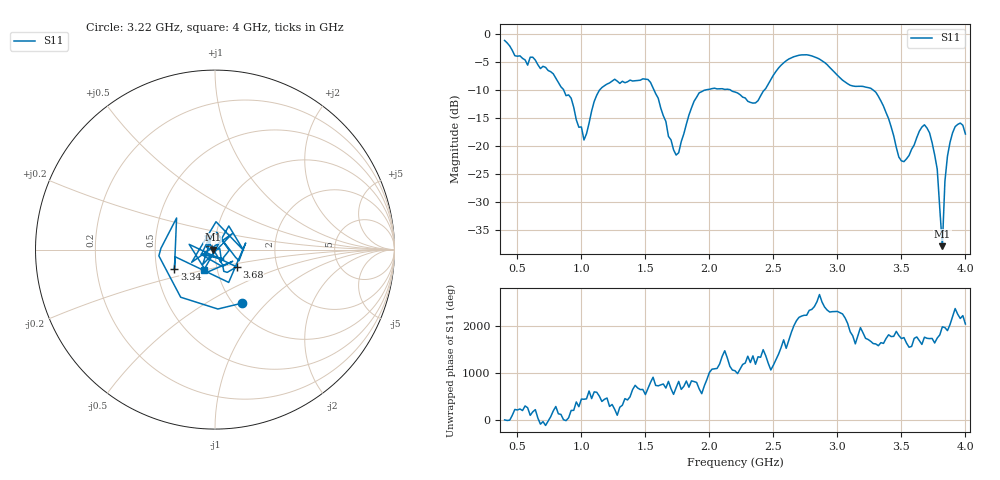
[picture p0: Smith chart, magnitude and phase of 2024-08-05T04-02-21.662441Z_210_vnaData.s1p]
!Created with skrf (http://scikit-rf.org).
# Hz S RI R 50.0
!freq ReS11 ImS11
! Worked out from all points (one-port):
!   181 points, 400 MHz to 4 GHz, reference 50 ohm
!   lowest |S11| = -38.0 dB at 3.82 GHz (marker M1), VSWR 1.03, Z = 48.8 - j0.0294 ohm
!   |S11| at or under -10 dB: 861.1 MHz to 1.143 GHz (282 MHz wide, 28.1 % of centre); 1.567 GHz to 1.974 GHz (406.7 MHz wide, 23 % of centre); 3.277 GHz to end of sweep (the widest 3 of 4)
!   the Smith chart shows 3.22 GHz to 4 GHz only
!   S11 on the Smith chart (normalised r, x): 3.22 GHz: 1.10, -0.74; 3.34 GHz: 0.62, -0.15; 3.68 GHz: 1.25, -0.25; 4 GHz: 0.86, -0.20
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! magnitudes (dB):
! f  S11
! 400 MHz  -1.2
! 860 MHz  -9.9
! 920 MHz  -11.5
! 1.02 GHz  -19.0
! 1.14 GHz  -10.1
! 1.3 GHz  -8.8
! 1.54 GHz  -8.7
! 1.72 GHz  -20.7
! 1.76 GHz  -21.2
! 1.84 GHz  -14.5
! 1.92 GHz  -10.5
! 2.2 GHz  -10.4
! 2.36 GHz  -12.3
! 2.66 GHz  -4.1
! 2.86 GHz  -4.5
! 3.1 GHz  -9.2
! 3.22 GHz  -9.5
! 3.34 GHz  -12.0
! 3.48 GHz  -22.0
! 3.56 GHz  -21.7
! 3.68 GHz  -16.2
! 3.72 GHz  -17.7
! 3.78 GHz  -24.2
! 3.82 GHz  -38.0
! 3.84 GHz  -26.3
! 3.88 GHz  -19.4
! 3.94 GHz  -16.2
! 4 GHz  -17.9
